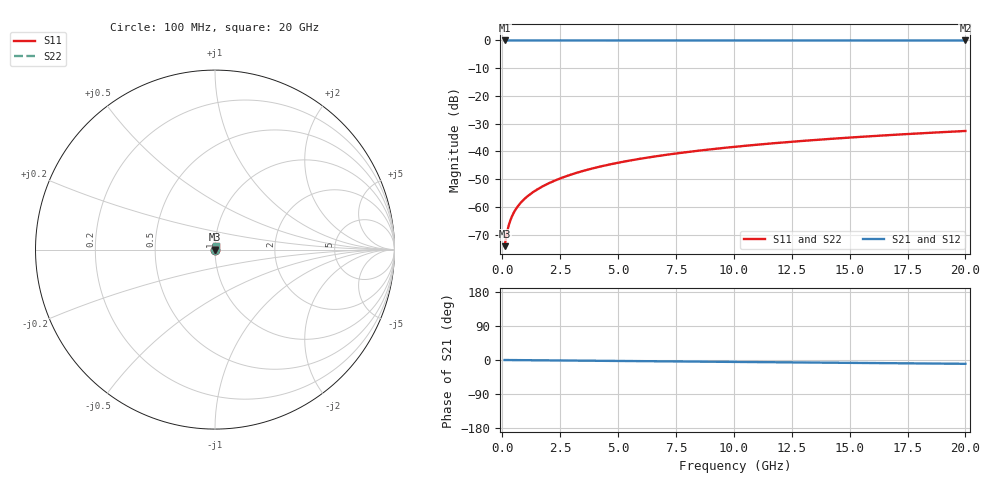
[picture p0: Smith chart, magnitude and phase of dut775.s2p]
! Touchstone file exported from HFSS 2026.1.0
!  File:  C:/ffzhzh/LocalFiles/Ansys_Project_Files/temp_train_TSV_775_1783183536_43440.aedt
!  Generated:  12:47:02 AM Jul  5, 2026
!  Design:  TSV
!  Project:  temp_train_TSV_775_1783183536_43440
! Variables:
!  h_bsmrdl = 2um
!  h_ox = 20um
!  h_rdl = 5um
!  h_sub = 98.75um
!  h_tmrdl = 5um
!  h_tsv = 98.75um
!  h_via = 3um
!  l_bsmrdl = 300um
!  l_sub = 424.66um
!  l_tmrdl = 200um
!  m_sub = 200um
!  pitch = 57.78um
!  r_tsv = 12.33um
!  s_tmrdl = 10um
!  w_bsmrdl = 18um
!  w_sub = 500um
!  w_tmrdl = 12um
!  x_tsv_center1 = 206um
!  x_tsv_center2 = 524um
!  x_tsv_center3 = 736um
!  x_tsv_center4 = 1054um
!  x_tsv_center5 = 1266um
!  x_tsv_center6 = 1584um
# GHz S MA R 50.000000
! Terminal data exported
! Port[1] = TSV1_1_T1
! Port[2] = TSV1_1_T2
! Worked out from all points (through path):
!   200 points, 100 MHz to 20 GHz, reference 50 ohm
!   highest |S21| = 0.00 dB at 100 MHz (marker M1); lowest = 0.0 dB at 20 GHz (marker M2)
!   group delay of S21, straight-line fit = 1.39 ps
!   lowest |S11| = -74.1 dB at 100 MHz (marker M3), VSWR 1.00, Z = 50 + j0.0165 ohm
!   |S11| at or under -10 dB: start of sweep to end of sweep
!   |S22| runs from -74.1 to -32.6 dB; largest |S21 - S12| = 4.6e-15
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0.1  0.0001968 57.2  0.9999 -0.1  0.9999 -0.1  0.0001968 57.2
! Gamma 0 0 0 0
! Port Impedance 50 0 50 0
0.2  0.000349 69.6  0.9999 -0.1  0.9999 -0.1  0.000349 69.6
0.3  0.0005036 73.5  0.9999 -0.2  0.9999 -0.2  0.0005036 73.5
0.4  0.0006535 75.0  0.9998 -0.2  0.9998 -0.2  0.0006535 75.0
0.5  0.0007972 75.7  0.9998 -0.3  0.9998 -0.3  0.0007972 75.7
0.6  0.0009351 76.1  0.9998 -0.3  0.9998 -0.3  0.0009351 76.1
0.7  0.001068 76.4  0.9998 -0.4  0.9998 -0.4  0.001068 76.4
0.9  0.001324 77.1  0.9997 -0.5  0.9997 -0.5  0.001324 77.1
1.1  0.001572 77.7  0.9997 -0.6  0.9997 -0.6  0.001572 77.7
1.3  0.001816 78.3  0.9996 -0.7  0.9996 -0.7  0.001816 78.3
1.6  0.002179 79.1  0.9996 -0.8  0.9996 -0.8  0.002179 79.1
1.9  0.002543 79.8  0.9996 -1.0  0.9996 -1.0  0.002543 79.8
2.6  0.00339 80.8  0.9995 -1.3  0.9995 -1.3  0.00339 80.8
3.5  0.004476 81.4  0.9995 -1.8  0.9995 -1.8  0.004476 81.4
4.2  0.005314 81.6  0.9994 -2.1  0.9994 -2.1  0.005314 81.6
5  0.006265 81.6  0.9993 -2.5  0.9993 -2.5  0.006265 81.6
6.8  0.008382 81.5  0.9992 -3.4  0.9992 -3.4  0.008381 81.5
8.3  0.01013 81.1  0.9991 -4.2  0.9991 -4.2  0.01013 81.1
10.1  0.01221 80.6  0.999 -5.1  0.999 -5.1  0.01221 80.6
13.4  0.01599 79.5  0.9988 -6.7  0.9988 -6.7  0.01599 79.5
16.7  0.01972 78.2  0.9986 -8.4  0.9986 -8.4  0.01972 78.2
20  0.0234 76.8  0.9984 -10.0  0.9984 -10.0  0.0234 76.8
